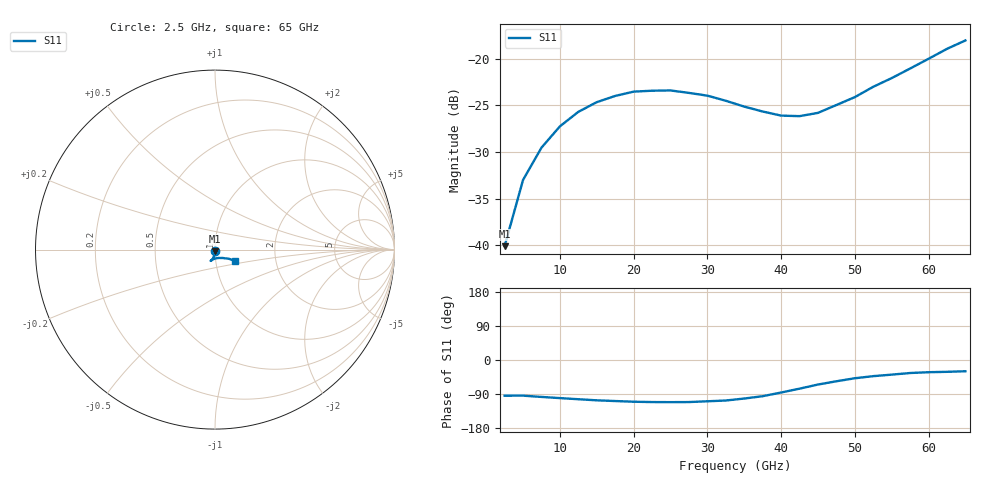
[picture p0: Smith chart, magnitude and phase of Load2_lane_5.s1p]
! File created by SignalIntegrity v1.5.1: Signal and Power Integrity Tools
! https://github.com/Nubis-Communications/SignalIntegrity
# MHz S MA R 50.0
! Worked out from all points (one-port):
!   26 points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, 2.5 GHz to 65 GHz, reference 50 ohm
!   lowest |S11| = -40.1 dB at 2.5 GHz (marker M1), VSWR 1.02, Z = 49.9 - j0.984 ohm
!   |S11| at or under -10 dB: start of sweep to end of sweep
2500  0.00988 -94.2
5000  0.02238 -94.0
7500  0.03335 -97.5
10000  0.04339 -100.5
12500  0.05191 -103.5
15000  0.05851 -106.4
17500  0.06318 -108.3
20000  0.06662 -110.1
22500  0.06739 -111.0
25000  0.06762 -111.2
27500  0.06559 -111.0
30000  0.06341 -109.0
32500  0.05953 -106.9
35000  0.05538 -101.7
37500  0.05214 -95.5
40000  0.04956 -85.8
42500  0.04922 -75.7
45000  0.05125 -64.8
47500  0.05647 -56.2
50000  0.06225 -48.2
52500  0.07074 -42.6
55000  0.07873 -38.6
57500  0.08862 -34.3
60000  0.09995 -32.2
62500  0.113 -31.2
65000  0.1254 -29.7
